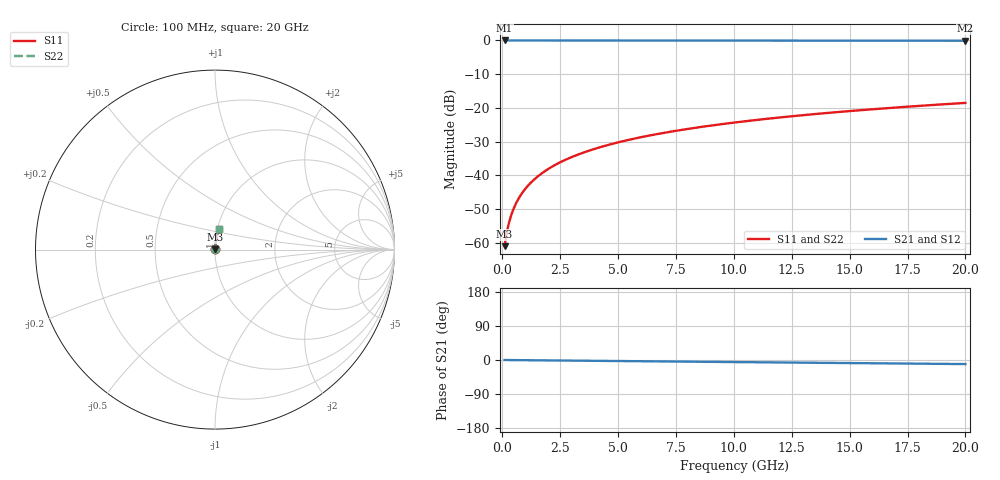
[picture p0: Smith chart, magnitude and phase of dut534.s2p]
! Touchstone file exported from HFSS 2026.1.0
!  File:  C:/ffzhzh/LocalFiles/Ansys_Project_Files/temp_train_BSMRDL_534_1783014799_51716.aedt
!  Generated:  01:54:39 AM Jul  3, 2026
!  Design:  BSMRDL
!  Project:  temp_train_BSMRDL_534_1783014799_51716
! Variables:
!  h_bsmrdl = 5.31um
!  h_ox = 20um
!  h_rdl = 5um
!  h_sub = 80um
!  h_tmrdl = 5um
!  h_tsv = 80um
!  h_via = 3um
!  l_bsmrdl = 117.52um
!  l_sub = 517.52um
!  l_tmrdl = 200um
!  m_sub = 200um
!  pitch = 45.53um
!  r_tsv = 6um
!  s_tmrdl = 10um
!  w_bsmrdl = 16.74um
!  w_sub = 500um
!  w_tmrdl = 12um
!  x_tsv_center1 = 206um
!  x_tsv_center2 = 340.26um
!  x_tsv_center3 = 552.26um
!  x_tsv_center4 = 686.52um
!  x_tsv_center5 = 898.52um
!  x_tsv_center6 = 1032.78um
# GHz S MA R 50.000000
! Terminal data exported
! Port[1] = BSM_RDL1_1_T1
! Port[2] = BSM_RDL1_1_T2
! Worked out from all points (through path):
!   200 points, 100 MHz to 20 GHz, reference 50 ohm
!   highest |S21| = -0.01 dB at 100 MHz (marker M1); lowest = -0.1 dB at 20 GHz (marker M2)
!   group delay of S21, straight-line fit = 1.49 ps
!   lowest |S11| = -61.0 dB at 100 MHz (marker M3), VSWR 1.00, Z = 50.1 + j0.0662 ohm
!   |S11| at or under -10 dB: start of sweep to end of sweep
!   |S22| runs from -61.0 to -18.5 dB; largest |S21 - S12| = 3.1e-15
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0.1  0.0008902 48.0  0.9994 -0.1  0.9994 -0.1  0.0008902 48.0
! Gamma 0 0 0 0
! Port Impedance 50 0 50 0
0.2  0.001451 64.6  0.9994 -0.1  0.9994 -0.1  0.001451 64.6
0.3  0.002053 71.5  0.9994 -0.2  0.9994 -0.2  0.002053 71.5
0.4  0.002663 75.2  0.9993 -0.2  0.9993 -0.2  0.002663 75.2
0.5  0.003273 77.6  0.9993 -0.3  0.9993 -0.3  0.003273 77.6
0.7  0.004499 80.4  0.9993 -0.4  0.9993 -0.4  0.004499 80.4
0.8  0.005113 81.3  0.9992 -0.4  0.9992 -0.4  0.005113 81.3
1  0.006345 82.6  0.9992 -0.6  0.9992 -0.6  0.006345 82.6
1.2  0.00758 83.4  0.9992 -0.7  0.9992 -0.7  0.00758 83.4
1.4  0.008816 84.0  0.9991 -0.8  0.9991 -0.8  0.008816 84.0
1.7  0.01067 84.5  0.9991 -0.9  0.9991 -0.9  0.01067 84.5
2  0.01252 84.8  0.999 -1.1  0.999 -1.1  0.01252 84.8
2.7  0.01683 85.1  0.9989 -1.5  0.9989 -1.5  0.01683 85.1
3.5  0.02172 85.1  0.9986 -1.9  0.9986 -1.9  0.02172 85.1
4.2  0.02597 84.9  0.9984 -2.3  0.9984 -2.3  0.02597 84.9
5  0.0308 84.6  0.9981 -2.7  0.9981 -2.7  0.0308 84.6
6.8  0.04156 83.9  0.9974 -3.7  0.9974 -3.7  0.04156 83.9
8.3  0.05045 83.3  0.9968 -4.5  0.9968 -4.5  0.05045 83.3
10.1  0.06107 82.5  0.996 -5.5  0.996 -5.5  0.06107 82.5
13.4  0.08039 81.0  0.9943 -7.2  0.9943 -7.2  0.08039 81.0
16.7  0.09953 79.4  0.9923 -9.0  0.9923 -9.0  0.09953 79.4
20  0.1185 77.8  0.9899 -10.7  0.9899 -10.7  0.1185 77.8
